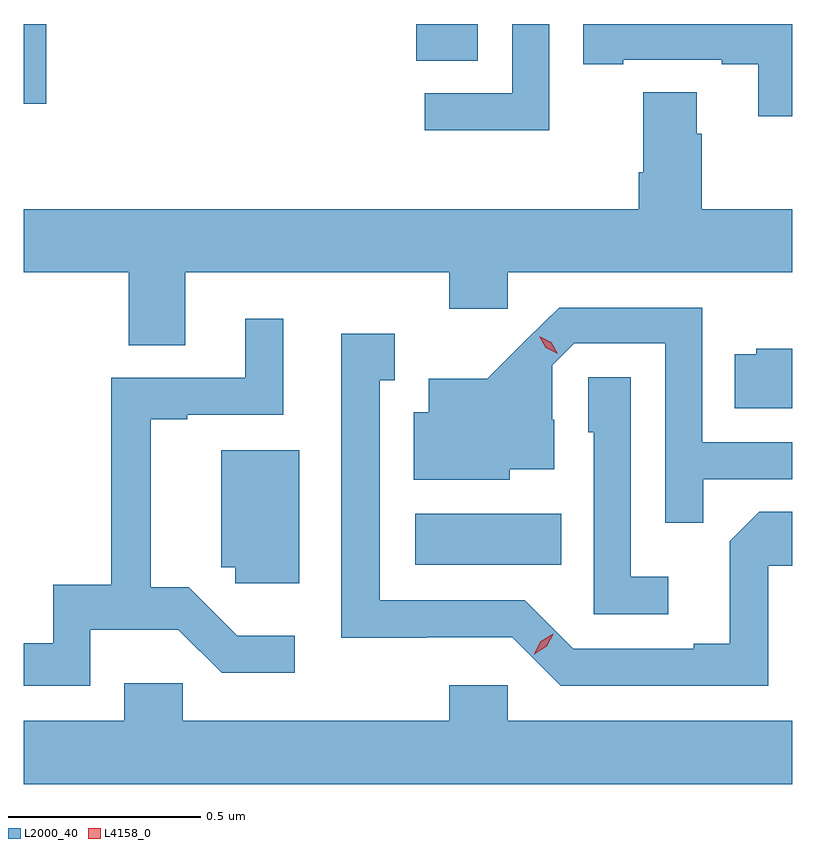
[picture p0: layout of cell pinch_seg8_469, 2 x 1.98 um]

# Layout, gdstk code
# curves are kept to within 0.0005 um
import gdstk
lib = gdstk.Library(unit=1e-6, precision=1e-09)
def R(c, l, rs):  # rectangles x0, y0, x1, y1
    for r in rs: c.add(gdstk.rectangle(r[:2], r[2:], *l))
def P(c, l, *ps):  # polygons
    for p in ps: c.add(gdstk.Polygon(p, *l))
L2000_40 = (2000, 40)
L4158_0 = (4158, 0)

pinch_seg8_469 = lib.new_cell('pinch_seg8_469')
R(pinch_seg8_469, L2000_40, [(195.984,1123.73,196.364,1123.864), (194.965,1124.931,195.023,1125.138), (195.986,1125.043,196.147,1125.138)])
P(pinch_seg8_469, L2000_40, [(196.965,1125.138),(196.421,1125.138),(196.421,1125.033),(196.525,1125.033),(196.525,1125.045),(196.781,1125.045),(196.781,1125.033),(196.877,1125.033),(196.877,1124.898),(196.965,1124.898)],
  [(196.332,1125.138),(196.236,1125.138),(196.236,1124.958),(196.008,1124.958),(196.008,1124.861),(196.332,1124.861)],
  [(195.385,1124.492),(196.073,1124.492),(196.073,1124.397),(196.224,1124.397),(196.224,1124.492),(196.965,1124.492),(196.965,1124.656),(196.73,1124.656),(196.73,1124.852),(196.717,1124.852),(196.717,1124.96),(196.577,1124.96),(196.577,1124.752),(196.565,1124.752),(196.565,1124.656),(194.965,1124.656),(194.965,1124.492),(195.238,1124.492),(195.238,1124.302),(195.385,1124.302)],
  [(196.733,1123.953),(196.965,1123.953),(196.965,1124.049),(196.731,1124.049),(196.731,1124.4),(196.358,1124.4),(196.171,1124.215),(196.019,1124.215),(196.019,1124.128),(195.98,1124.128),(195.98,1123.952),(196.23,1123.952),(196.23,1123.979),(196.345,1123.979),(196.345,1124.108),(196.341,1124.108),(196.341,1124.25),(196.398,1124.307),(196.635,1124.307),(196.635,1123.84),(196.733,1123.84)],
  [(195.138,1123.562),(195.367,1123.562),(195.48,1123.449),(195.67,1123.449),(195.67,1123.546),(195.521,1123.546),(195.395,1123.672),(195.296,1123.672),(195.296,1124.109),(195.391,1124.109),(195.391,1124.121),(195.64,1124.121),(195.64,1124.371),(195.542,1124.371),(195.542,1124.217),(195.193,1124.217),(195.193,1123.679),(195.042,1123.679),(195.042,1123.526),(194.965,1123.526),(194.965,1123.416),(195.138,1123.416)],
  [(196.902,1123.728),(196.965,1123.728),(196.965,1123.868),(196.879,1123.868),(196.803,1123.792),(196.803,1123.525),(196.709,1123.525),(196.709,1123.512),(196.395,1123.512),(196.269,1123.638),(195.892,1123.638),(195.892,1124.211),(195.931,1124.211),(195.931,1124.332),(195.791,1124.332),(195.791,1123.541),(196.014,1123.541),(196.014,1123.542),(196.236,1123.542),(196.362,1123.416),(196.902,1123.416)],
  [(196.965,1124.293),(196.872,1124.293),(196.872,1124.278),(196.816,1124.278),(196.816,1124.138),(196.965,1124.138)],
  [(196.642,1123.699),(196.545,1123.699),(196.545,1124.219),(196.434,1124.219),(196.434,1124.076),(196.449,1124.076),(196.449,1123.602),(196.642,1123.602)],
  [(195.682,1124.029),(195.479,1124.029),(195.479,1123.724),(195.516,1123.724),(195.516,1123.682),(195.682,1123.682)],
  [(196.965,1123.324),(196.224,1123.324),(196.224,1123.417),(196.073,1123.417),(196.073,1123.324),(195.379,1123.324),(195.379,1123.422),(195.227,1123.422),(195.227,1123.324),(194.965,1123.324),(194.965,1123.16),(196.965,1123.16)])
P(pinch_seg8_469, L4158_0, [(196.355,1124.28),(196.324,1124.295),(196.307,1124.325),(196.307,1124.325),(196.307,1124.325),(196.338,1124.31),(196.355,1124.28),(196.355,1124.28)],
  [(196.294,1123.498),(196.294,1123.499),(196.311,1123.532),(196.343,1123.551),(196.343,1123.551),(196.343,1123.55),(196.326,1123.518),(196.294,1123.498)])

lib.write_gds('pinch_seg8_469.gds')
